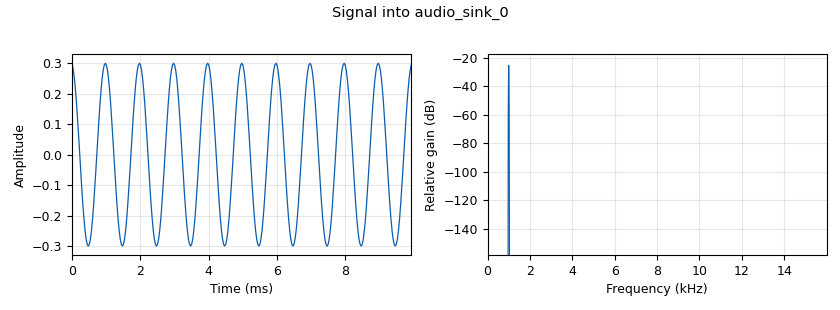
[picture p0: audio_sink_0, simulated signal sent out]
<?xml version='1.0' encoding='utf-8'?>
<?grc format='1' created='3.7.10'?>
<flow_graph>
<block>
<key>options</key>
<param><key>id</key><value>top_block</value></param>
<param><key>generate_options</key><value>qt_gui</value></param>
</block>
<block>
<key>variable</key>
<param><key>id</key><value>samp_rate</value></param>
<param><key>value</key><value>32000</value></param>
</block>
<block>
<key>analog_sig_source_x</key>
<param><key>id</key><value>analog_sig_source_x_0</value></param>
<param><key>amp</key><value>0.3</value></param>
<param><key>freq</key><value>1000</value></param>
<param><key>offset</key><value>0</value></param>
<param><key>type</key><value>complex</value></param>
<param><key>samp_rate</key><value>samp_rate</value></param>
<param><key>waveform</key><value>analog.GR_COS_WAVE</value></param>
</block>
<block>
<key>audio_sink</key>
<param><key>id</key><value>audio_sink_0</value></param>
<param><key>samp_rate</key><value>samp_rate</value></param>
</block>
<block>
<key>audio_source</key>
<param><key>id</key><value>audio_source_0</value></param>
<param><key>samp_rate</key><value>samp_rate</value></param>
</block>
<block>
<key>blocks_complex_to_real</key>
<param><key>id</key><value>blocks_complex_to_real_0</value></param>
</block>
<block>
<key>qtgui_time_sink_x</key>
<param><key>id</key><value>qtgui_time_sink_x_0</value></param>
<param><key>color1</key><value>"blue"</value></param>
<param><key>label1</key><value></value></param>
<param><key>color2</key><value>"red"</value></param>
<param><key>label2</key><value></value></param>
<param><key>nconnections</key><value>2</value></param>
<param><key>size</key><value>1024</value></param>
<param><key>srate</key><value>samp_rate</value></param>
<param><key>type</key><value>float</value></param>
<param><key>update_time</key><value>0.50</value></param>
</block>
<connection><source_block_id>analog_sig_source_x_0</source_block_id><sink_block_id>blocks_complex_to_real_0</sink_block_id><source_key>0</source_key><sink_key>0</sink_key></connection>
<connection><source_block_id>audio_source_0</source_block_id><sink_block_id>qtgui_time_sink_x_0</sink_block_id><source_key>0</source_key><sink_key>1</sink_key></connection>
<connection><source_block_id>blocks_complex_to_real_0</source_block_id><sink_block_id>audio_sink_0</sink_block_id><source_key>0</source_key><sink_key>0</sink_key></connection>
<connection><source_block_id>blocks_complex_to_real_0</source_block_id><sink_block_id>qtgui_time_sink_x_0</sink_block_id><source_key>0</source_key><sink_key>0</sink_key></connection>
</flow_graph>
